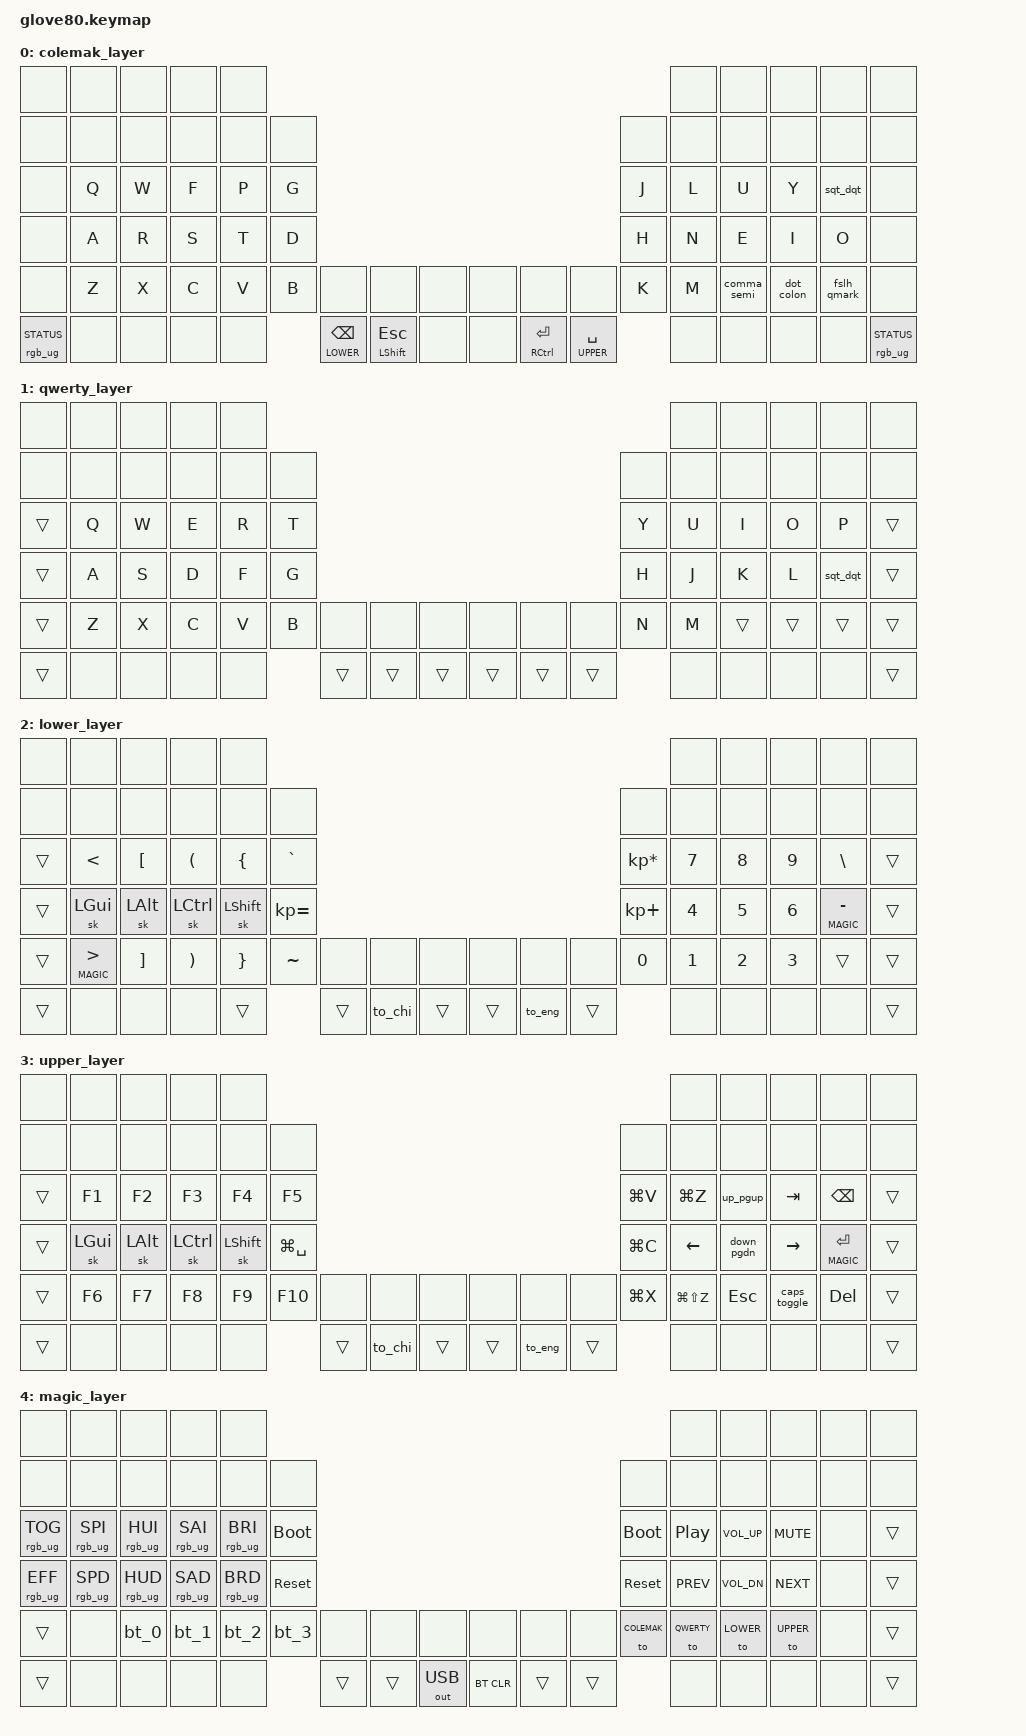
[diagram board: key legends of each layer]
/*
 * Copyright (c) 2020 The ZMK Contributors
 *
 * SPDX-License-Identifier: MIT
 */

#include <behaviors.dtsi>
#include <dt-bindings/zmk/keys.h>
#include <dt-bindings/zmk/bt.h>
#include <dt-bindings/zmk/ext_power.h>
#include <dt-bindings/zmk/outputs.h>
#include <dt-bindings/zmk/rgb.h>

// layers
#define COLEMAK 0
#define QWERTY  1
#define LOWER   2
#define UPPER   3
#define MAGIC   4

/ {
    macros {
        bt_0: bt_profile_macro_0 {
            compatible = "zmk,behavior-macro";
            #binding-cells = <0>;
            bindings = <&out OUT_BLE>, <&bt BT_SEL 0>;
        };

        bt_1: bt_profile_macro_1 {
            compatible = "zmk,behavior-macro";
            #binding-cells = <0>;
            bindings = <&out OUT_BLE>, <&bt BT_SEL 1>;
        };

        bt_2: bt_profile_macro_2 {
            compatible = "zmk,behavior-macro";
            #binding-cells = <0>;
            bindings = <&out OUT_BLE>, <&bt BT_SEL 2>;
        };

        bt_3: bt_profile_macro_3 {
            compatible = "zmk,behavior-macro";
            #binding-cells = <0>;
            bindings = <&out OUT_BLE>, <&bt BT_SEL 3>;
        };

        to_chi: to_chi_macro {
            compatible = "zmk,behavior-macro";
            #binding-cells = <0>;
            bindings = <&kp LC(SPACE)>, <&to QWERTY>;
        };

        to_eng: to_eng_macro {
            compatible = "zmk,behavior-macro";
            #binding-cells = <0>;
            bindings = <&kp LC(SPACE)>, <&to COLEMAK>;
        };
    };

    behaviors {
        ctrl_magic: tap_dance_ctrl_magic {
            compatible = "zmk,behavior-tap-dance";
            #binding-cells = <0>;
            bindings = <&kp LCTRL>, <&mo MAGIC>;
        };
        caps_toggle: tap_dance_caps_toggle {
            compatible = "zmk,behavior-tap-dance";
            #binding-cells = <0>;
            bindings = <&caps_word>, <&kp LS(CAPS)>;
        };
        comma_semi: comma_semi {
            compatible = "zmk,behavior-mod-morph";
            #binding-cells = <0>;
            bindings = <&kp COMMA>, <&kp SEMI>;
            mods = <(MOD_LSFT|MOD_RSFT)>;
        };
        dot_colon: dot_colon {
            compatible = "zmk,behavior-mod-morph";
            #binding-cells = <0>;
            bindings = <&kp DOT>, <&kp COLON>;
            mods = <(MOD_LSFT|MOD_RSFT)>;
        };
        sqt_dqt: sqt_dqt {
            compatible = "zmk,behavior-mod-morph";
            #binding-cells = <0>;
            bindings = <&kp SQT>, <&kp DQT>;
            mods = <(MOD_LSFT|MOD_RSFT)>;
        };
        fslh_qmark: fslh_qmark {
            compatible = "zmk,behavior-mod-morph";
            #binding-cells = <0>;
            bindings = <&kp FSLH>, <&kp QMARK>;
            mods = <(MOD_LSFT|MOD_RSFT)>;
        };
        up_pgup: up_pgup {
            compatible = "zmk,behavior-mod-morph";
            #binding-cells = <0>;
            bindings = <&kp UP>, <&kp PG_UP>;
            mods = <(MOD_LGUI|MOD_RGUI)>;
        };
        down_pgdn: down_pgdn {
            compatible = "zmk,behavior-mod-morph";
            #binding-cells = <0>;
            bindings = <&kp DOWN>, <&kp PG_DN>;
            mods = <(MOD_LGUI|MOD_RGUI)>;
        };
    };

    keymap {
        compatible = "zmk,keymap";

        colemak_layer {
            bindings = <
                &none              &none  &none  &none  &none                                                                                                   &none  &none        &none       &none        &none
                &none              &none  &none  &none  &none        &none                                                                               &none  &none  &none        &none       &none        &none
                &none              &kp Q  &kp W  &kp F  &kp P        &kp G                                                                               &kp J  &kp L  &kp U        &kp Y       &sqt_dqt     &none
                &none              &kp A  &kp R  &kp S  &kp T        &kp D                                                                               &kp H  &kp N  &kp E        &kp I       &kp O        &none
                &none              &kp Z  &kp X  &kp C  &kp V        &kp B  &none           &none          &none  &none  &none          &none            &kp K  &kp M  &comma_semi  &dot_colon  &fslh_qmark  &none
                &rgb_ug RGB_STATUS &none  &none  &none  &none               &lt LOWER BSPC  &mt LSHFT ESC  &none  &none  &mt RCTRL RET  &lt UPPER SPACE         &none  &none        &none       &none        &rgb_ug RGB_STATUS
            >;
        };

        qwerty_layer {
            bindings = <
                &none   &none  &none  &none  &none                                                                 &none   &none   &none   &none     &none
                &none   &none  &none  &none  &none   &none                                                  &none  &none   &none   &none   &none     &none
                &trans  &kp Q  &kp W  &kp E  &kp R   &kp T                                                  &kp Y  &kp U   &kp I   &kp O   &kp P     &trans
                &trans  &kp A  &kp S  &kp D  &kp F   &kp G                                                  &kp H  &kp J   &kp K   &kp L   &sqt_dqt  &trans
                &trans  &kp Z  &kp X  &kp C  &kp V   &kp B  &none   &none   &none   &none   &none   &none   &kp N  &kp M   &trans  &trans  &trans    &trans
                &trans  &none  &none  &none  &none          &trans  &trans  &trans  &trans  &trans  &trans         &none   &none   &none   &none     &trans
            >;
        };

        lower_layer {
            bindings = <
                &none   &none         &none     &none      &none                                                                                       &none   &none   &none   &none            &none
                &none   &none         &none     &none      &none      &none                                                           &none            &none   &none   &none   &none            &none
                &trans  &kp LT        &kp LBKT  &kp LPAR   &kp LBRC   &kp GRAVE                                                       &kp KP_MULTIPLY  &kp N7  &kp N8  &kp N9  &kp BSLH         &trans
                &trans  &sk LGUI      &sk LALT  &sk LCTRL  &sk LSHFT  &kp KP_EQUAL                                                    &kp KP_PLUS      &kp N4  &kp N5  &kp N6  &lt MAGIC MINUS  &trans
                &trans  &lt MAGIC GT  &kp RBKT  &kp RPAR   &kp RBRC   &kp TILDE     &none   &none    &none   &none   &none    &none   &kp N0           &kp N1  &kp N2  &kp N3  &trans           &trans
                &trans  &none         &none     &none      &trans                   &trans  &to_chi  &trans  &trans  &to_eng  &trans                   &none   &none   &none   &none            &trans
            >;
        };

        upper_layer {
            bindings = <
                &none   &none     &none     &none      &none                                                                                  &none          &none       &none         &none          &none
                &none   &none     &none     &none      &none      &none                                                            &none      &none          &none       &none         &none          &none
                &trans  &kp F1    &kp F2    &kp F3     &kp F4     &kp F5                                                           &kp LG(V)  &kp LG(Z)      &up_pgup    &kp TAB       &kp BSPC       &trans
                &trans  &sk LGUI  &sk LALT  &sk LCTRL  &sk LSHFT  &kp LG(SPACE)                                                    &kp LG(C)  &kp LEFT       &down_pgdn  &kp RIGHT     &lt MAGIC RET  &trans
                &trans  &kp F6    &kp F7    &kp F8     &kp F9     &kp F10        &none   &none    &none   &none   &none    &none   &kp LG(X)  &kp LG(LS(Z))  &kp ESC     &caps_toggle  &kp DEL        &trans
                &trans  &none     &none     &none      &none                     &trans  &to_chi  &trans  &trans  &to_eng  &trans             &none          &none       &none         &none          &trans
            >;
        };

        magic_layer {
            bindings = <
                &none            &none            &none           &none           &none                                                                                               &none       &none         &none       &none  &none
                &none            &none            &none           &none           &none           &none                                                                  &none        &none       &none         &none       &none  &none
                &rgb_ug RGB_TOG  &rgb_ug RGB_SPI  &rgb_ug RGB_HUI &rgb_ug RGB_SAI &rgb_ug RGB_BRI &bootloader                                                            &bootloader  &kp C_PP    &kp C_VOL_UP  &kp C_MUTE  &none  &trans
                &rgb_ug RGB_EFF  &rgb_ug RGB_SPD  &rgb_ug RGB_HUD &rgb_ug RGB_SAD &rgb_ug RGB_BRD &sys_reset                                                             &sys_reset   &kp C_PREV  &kp C_VOL_DN  &kp C_NEXT  &none  &trans
                &trans           &none            &bt_0           &bt_1           &bt_2           &bt_3        &none   &none   &none         &none       &none   &none   &to COLEMAK  &to QWERTY  &to LOWER     &to UPPER   &none  &trans
                &trans           &none            &none           &none           &none                        &trans  &trans  &out OUT_USB  &bt BT_CLR  &trans  &trans               &none       &none         &none       &none  &trans
            >;
        };
    };
};
